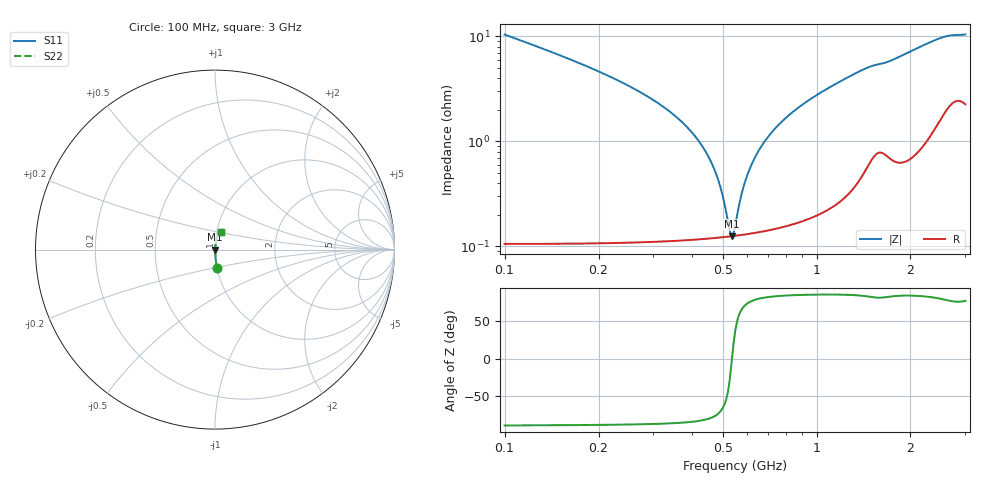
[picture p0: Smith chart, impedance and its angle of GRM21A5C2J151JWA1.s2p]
!Murata Part Number: GRM21A5C2J151JWA1
!These Parameters are Measured in Series Mode Connection
!Data Generated on Mar 30, 2021
!  o--ll--o
!Port1  Port2
!  o------o
!Operation Temp=25[degC], DC Bias Voltage=0[V]
!Freq. Start=100[MHz] Stop=3[GHz] 401[Steps]
# Hz S RI R 50
!Freq.(Hz) S11(Real) S11(Imag) S21(Real) S21(Imag) S12(Real) S12(Imag) S22(Real) S22(Imag)
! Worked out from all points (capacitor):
!   401 points, 100 MHz to 3 GHz, reference 50 ohm
!   read as one part in series: C = 148 pF near 114.5 MHz
!   lowest |Z| = 125 mohm at 535 MHz (marker M1)
!   series resonance near 535.7 MHz, so ESL is about 600 pH
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1e8  0.0117 -0.1027  0.9883 0.1027  0.9883 0.1027  0.0117 -0.1027
1.87e8  0.00362 -0.0504  0.9964 0.0504  0.9964 0.0504  0.00362 -0.0504
3.5375e8  0.00143 -0.0172  0.9986 0.0172  0.9986 0.0172  0.00143 -0.0172
4.19e8  0.00127 -0.01  0.9987 0.01  0.9987 0.01  0.00127 -0.01
4.48e8  0.00124 -0.00725  0.9988 0.00725  0.9988 0.00725  0.00124 -0.00725
4.77e8  0.00123 -0.0047  0.9988 0.0047  0.9988 0.0047  0.00123 -0.0047
4.9875e8  0.00123 -0.00289  0.9988 0.00289  0.9988 0.00289  0.00123 -0.00289
5.205e8  0.00124 -0.00116  0.9988 0.00116  0.9988 0.00116  0.00124 -0.00116
5.35e8  0.00125 -5.4e-05  0.9987 5.4e-05  0.9987 5.4e-05  0.00125 -5.4e-05
5.495e8  0.00126 0.00103  0.9987 -0.00103  0.9987 -0.00103  0.00126 0.00103
5.8575e8  0.00131 0.00362  0.9987 -0.00362  0.9987 -0.00362  0.00131 0.00362
6.1475e8  0.00136 0.00559  0.9986 -0.00559  0.9986 -0.00559  0.00136 0.00559
6.4375e8  0.00141 0.00749  0.9986 -0.00749  0.9986 -0.00749  0.00141 0.00749
6.8725e8  0.00151 0.0102  0.9985 -0.0102  0.9985 -0.0102  0.00151 0.0102
7.38e8  0.00164 0.0132  0.9984 -0.0132  0.9984 -0.0132  0.00164 0.0132
8.7575e8  0.00213 0.0209  0.9979 -0.0209  0.9979 -0.0209  0.00213 0.0209
1.0715e9  0.00314 0.031  0.9969 -0.031  0.9969 -0.031  0.00314 0.031
1.33975e9  0.00581 0.0442  0.9942 -0.0442  0.9942 -0.0442  0.00581 0.0442
1.55e9  0.0102 0.0521  0.9898 -0.0521  0.9898 -0.0521  0.0102 0.0521
2.03575e9  0.0123 0.072  0.9877 -0.072  0.9877 -0.072  0.0123 0.072
2.5215e9  0.0254 0.092  0.9746 -0.092  0.9746 -0.092  0.0254 0.092
3e9  0.0317 0.0964  0.9683 -0.0964  0.9683 -0.0964  0.0317 0.0964
